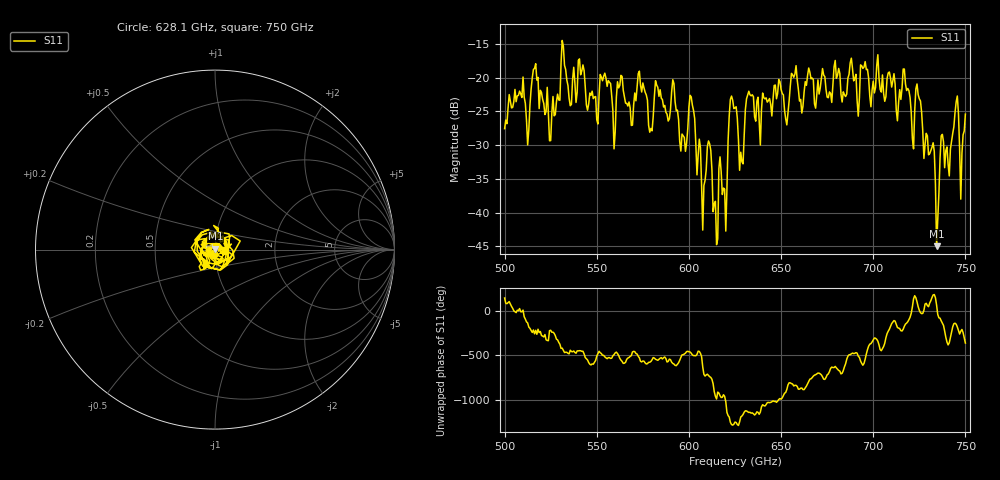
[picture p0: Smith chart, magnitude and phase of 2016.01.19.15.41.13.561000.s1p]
!Created with skrf (http://scikit-rf.org).
# GHz S RI R 50.0
!freq ReS11 ImS11
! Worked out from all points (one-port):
!   401 points, 500 GHz to 750 GHz, reference 50 ohm
!   lowest |S11| = -45.0 dB at 734.4 GHz (marker M1), VSWR 1.01, Z = 50.2 + j0.515 ohm
!   |S11| at or under -10 dB: start of sweep to end of sweep
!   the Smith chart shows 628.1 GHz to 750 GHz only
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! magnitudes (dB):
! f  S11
! 500 GHz  -27.5
! 508.8 GHz  -22.4
! 512.5 GHz  -29.9
! 516.2 GHz  -18.6
! 525.6 GHz  -25.2
! 531.2 GHz  -14.5
! 559.4 GHz  -30.5
! 562.5 GHz  -21.1
! 593.8 GHz  -24.8
! 601.9 GHz  -24.1
! 608.1 GHz  -36.0
! 611.2 GHz  -29.8
! 614.4 GHz  -38.3
! 617.5 GHz  -33.9
! 619.4 GHz  -36.5
! 622.5 GHz  -23.2
! 625 GHz  -24.5
! 628.1 GHz  -31.0
! 632.5 GHz  -22.0
! 653.1 GHz  -27.0
! 656.2 GHz  -19.6
! 687.5 GHz  -17.8
! 718.8 GHz  -21.6
! 724.4 GHz  -22.5
! 734.4 GHz  -45.0
! 745 GHz  -23.6
! 748.1 GHz  -31.2
! 750 GHz  -25.4
